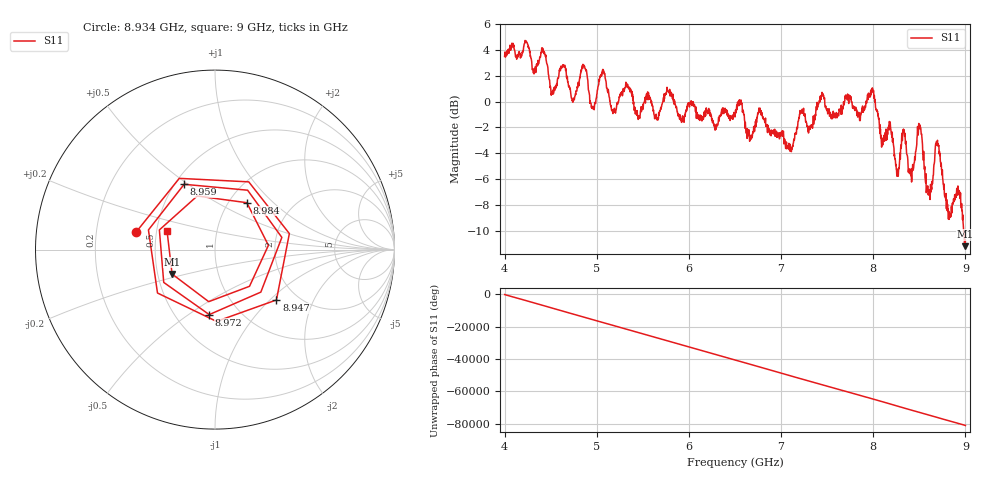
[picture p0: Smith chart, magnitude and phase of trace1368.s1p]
! Created with skrf 1.8.0 (http://scikit-rf.org).
# Hz S RI R 50.0
!freq ReS11 ImS11
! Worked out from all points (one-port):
!   1601 points, 4 GHz to 9 GHz, reference 50 ohm
!   lowest |S11| = -11.2 dB at 8.997 GHz (marker M1), VSWR 1.76, Z = 29.7 - j8.75 ohm
!   |S11| at or under -10 dB: 8.980642 GHz to end of sweep
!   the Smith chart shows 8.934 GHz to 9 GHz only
!   S11 on the Smith chart (normalised r, x): 8.934 GHz: 0.38, +0.09; 8.947 GHz: 1.57, -1.10; 8.959 GHz: 0.56, +0.48; 8.972 GHz: 0.73, -0.61; 8.984 GHz: 1.21, +0.70; 9 GHz: 0.57, +0.13
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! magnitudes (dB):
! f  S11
! 4 GHz  3.5
! 4.422 GHz  3.9
! 4.522 GHz  0.9
! 4.625 GHz  2.7
! 4.741 GHz  0.0
! 4.862 GHz  2.8
! 4.95 GHz  -0.4
! 5.25 GHz  0.5
! 5.875 GHz  -0.8
! 6.5 GHz  -1.2
! 7.125 GHz  -3.4
! 7.219 GHz  -0.8
! 7.75 GHz  0.3
! 7.994 GHz  0.9
! 8.259 GHz  -5.3
! 8.331 GHz  -2.3
! 8.375 GHz  -4.5
! 8.503 GHz  -1.9
! 8.594 GHz  -7.0
! 8.694 GHz  -3.2
! 8.819 GHz  -8.5
! 8.934 GHz  -6.9
! 8.947 GHz  -7.1
! 8.959 GHz  -7.9
! 8.972 GHz  -8.8
! 8.984 GHz  -10.0
! 8.997 GHz  -11.2
! 9 GHz  -10.8
